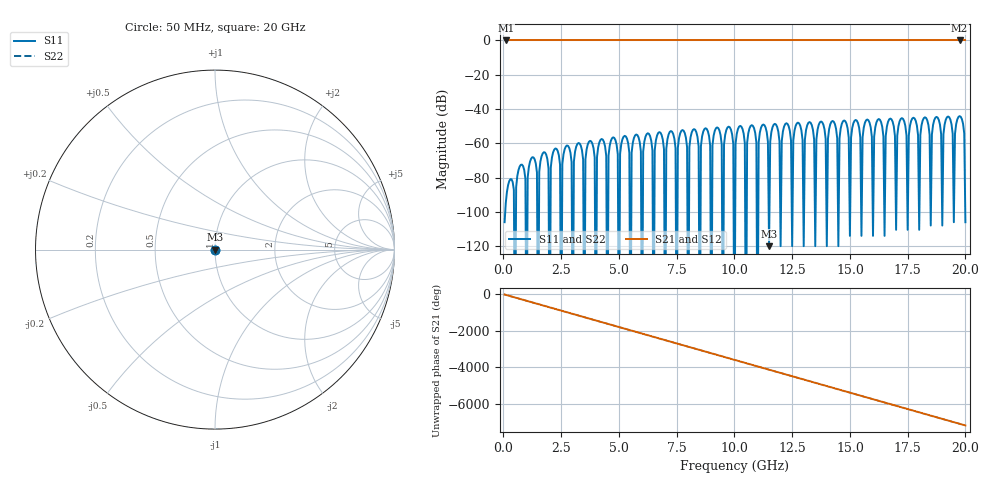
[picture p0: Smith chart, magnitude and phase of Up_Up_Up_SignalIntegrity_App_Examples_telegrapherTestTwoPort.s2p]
# MHz MA S R 50.0
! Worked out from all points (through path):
!   400 points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, 50 MHz to 20 GHz, reference 50 ohm
!   highest |S21| = 0.00 dB at 100 MHz (marker M1); lowest = 0.0 dB at 19.75 GHz (marker M2)
!   group delay of S21, straight-line fit = 1 ns
!   lowest |S11| = -120.0 dB at 11.5 GHz (marker M3), VSWR 1.00, Z = 50 + j1.57e-08 ohm
!   |S11| at or under -10 dB: start of sweep to end of sweep
!   |S22| runs from - to -44.1 dB; largest |S21 - S12| = 0
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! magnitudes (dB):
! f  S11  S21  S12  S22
! 50 MHz  -106.0  0.0  0.0  -106.0
! 100 MHz  -94.9  0.0  0.0  -94.9
! 3.4 GHz  -64.0  0.0  0.0  -64.0
! 6.7 GHz  -54.0  0.0  0.0  -54.0
! 10.05 GHz  -60.2  0.0  0.0  -60.2
! 11.5 GHz  -120.0  0.0  0.0  -120.0
! 13.35 GHz  -49.4  0.0  0.0  -49.4
! 15.5 GHz  -114.0  0.0  0.0  -114.0
! 15.8 GHz  -46.5  0.0  0.0  -46.5
! 16 GHz  -114.0  0.0  0.0  -114.0
! 16.3 GHz  -46.3  0.0  0.0  -46.3
! 16.5 GHz  -114.0  0.0  0.0  -114.0
! 16.7 GHz  -46.0  0.0  0.0  -46.0
! 18 GHz  -110.5  0.0  0.0  -110.5
! 18.3 GHz  -45.2  0.0  0.0  -45.2
! 18.5 GHz  -108.0  0.0  0.0  -108.0
! 18.8 GHz  -45.0  0.0  0.0  -45.0
! 19 GHz  -108.0  0.0  0.0  -108.0
! 19.3 GHz  -44.8  0.0  0.0  -44.8
! 19.5 GHz  -106.0  0.0  0.0  -106.0
! 19.75 GHz  -44.1  0.0  0.0  -44.1
! 20 GHz  -106.0  0.0  0.0  -106.0
